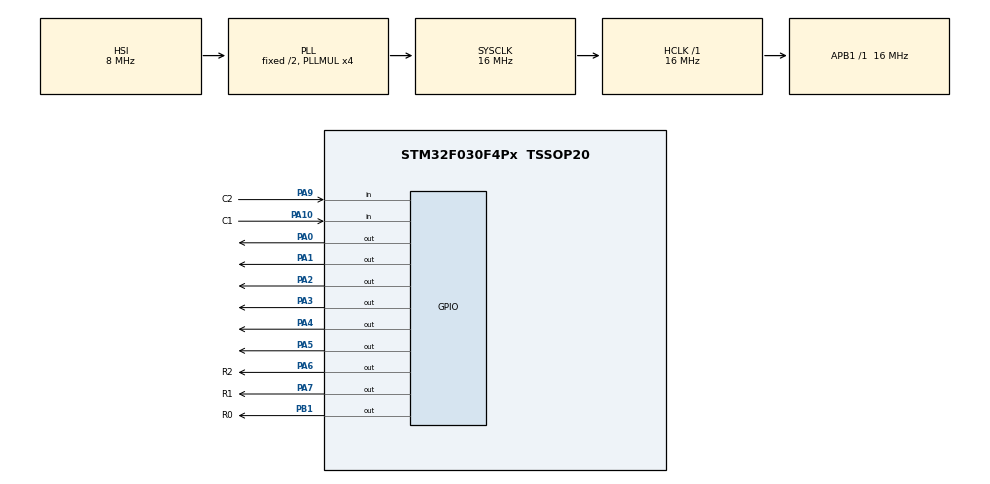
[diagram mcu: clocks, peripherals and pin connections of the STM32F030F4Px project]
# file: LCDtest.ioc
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Mcu.Family=STM32F0
Mcu.Name=STM32F030F4Px
Mcu.Package=TSSOP20
PA0.Signal=GPIO_Output
PA1.Signal=GPIO_Output
PA10.GPIO_Label=C1
PA10.GPIO_Mode=GPIO_MODE_INPUT
PA10.GPIO_PuPd=GPIO_PULLUP
PA10.Signal=GPIO_Input
PA13.Mode=Serial_Wire
PA13.Signal=SYS_SWDIO
PA14.Mode=Serial_Wire
PA14.Signal=SYS_SWCLK
PA2.Signal=GPIO_Output
PA3.Signal=GPIO_Output
PA4.Signal=GPIO_Output
PA5.Signal=GPIO_Output
PA6.GPIO_Label=R2
PA6.Signal=GPIO_Output
PA7.GPIO_Label=R1
PA7.Signal=GPIO_Output
PA9.GPIO_Label=C2
PA9.GPIO_Mode=GPIO_MODE_INPUT
PA9.GPIO_PuPd=GPIO_PULLUP
PA9.Signal=GPIO_Input
PB1.GPIO_Label=R0
PB1.Signal=GPIO_Output
PF0-OSC_IN.Mode=HSE-External-Oscillator
PF0-OSC_IN.Signal=RCC_OSC_IN
PF1-OSC_OUT.Mode=HSE-External-Oscillator
PF1-OSC_OUT.Signal=RCC_OSC_OUT
ProjectManager.HeapSize=0x200
ProjectManager.StackSize=0x400
ProjectManager.TargetToolchain=STM32CubeIDE
RCC.AHBFreq_Value=16000000
RCC.APB1Freq_Value=16000000
RCC.APB1TimFreq_Value=16000000
RCC.HCLKFreq_Value=16000000
RCC.PLLMUL=RCC_PLL_MUL4
RCC.SYSCLKFreq_VALUE=16000000
RCC.SYSCLKSource=RCC_SYSCLKSOURCE_PLLCLK
board=custom

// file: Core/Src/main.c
/* USER CODE BEGIN Header */
/**
  ******************************************************************************
  * @file           : main.c
  * @brief          : Main program body
  ******************************************************************************
  * @attention
  *
  * Copyright (c) 2024 STMicroelectronics.
  * All rights reserved.
  *
  * This software is licensed under terms that can be found in the LICENSE file
  * in the root directory of this software component.
  * If no LICENSE file comes with this software, it is provided AS-IS.
  *
  ******************************************************************************
  */
/* USER CODE END Header */
#include "main.h"

/* USER CODE BEGIN Includes */
#include "lcd.h"
#include "stdlib.h"
#include <stdbool.h>
/* USER CODE END Includes */

void SystemClock_Config(void);
static void MX_GPIO_Init(void);

/* USER CODE BEGIN 0 */
#define DEL 10
#define cong 11
#define tru 12
#define nhan 13
#define chia 14
#define bang 15
#define ko 16
int64_t num[10] = {0,0,0,0,0,0,0,0,0,0}; //luu so
uint8_t equaltion[9] = {0,0,0,0,0,0,0,0,0}; // luu dau
uint8_t pos = 0; //vi tri

const uint8_t key_code [8][2] =
{
		{7,8},
		{9,cong},
		{4,5},
		{6,tru},
		{1,2},
		{3,nhan},
		{ko,bang},
		{DEL,chia},
};
uint8_t key_current=0;
uint8_t key_last=0;

int64_t kq=0;
int64_t num1=0;

void selectRow(uint8_t row)
{
	switch (row){
	case 0:
		HAL_GPIO_WritePin(GPIOA, GPIO_PIN_6, RESET);
		HAL_GPIO_WritePin(GPIOA, GPIO_PIN_7, RESET);
		HAL_GPIO_WritePin(GPIOB, GPIO_PIN_1, RESET);
	break;
	case 1:
		HAL_GPIO_WritePin(GPIOA, GPIO_PIN_6, RESET);
		HAL_GPIO_WritePin(GPIOA, GPIO_PIN_7, RESET);
		HAL_GPIO_WritePin(GPIOB, GPIO_PIN_1, SET);
		break;
	case 2:
		HAL_GPIO_WritePin(GPIOA, GPIO_PIN_6, RESET);
		HAL_GPIO_WritePin(GPIOA, GPIO_PIN_7, SET);
		HAL_GPIO_WritePin(GPIOB, GPIO_PIN_1, RESET);
		break;
	case 3:
		HAL_GPIO_WritePin(GPIOA, GPIO_PIN_6, RESET);
		HAL_GPIO_WritePin(GPIOA, GPIO_PIN_7, SET);
		HAL_GPIO_WritePin(GPIOB, GPIO_PIN_1, SET);
		break;
	case 4:
		HAL_GPIO_WritePin(GPIOA, GPIO_PIN_6, SET);
		HAL_GPIO_WritePin(GPIOA, GPIO_PIN_7, RESET);
		HAL_GPIO_WritePin(GPIOB, GPIO_PIN_1, RESET);
		break;
	case 5:
		HAL_GPIO_WritePin(GPIOA, GPIO_PIN_6, SET);
		HAL_GPIO_WritePin(GPIOA, GPIO_PIN_7, RESET);
		HAL_GPIO_WritePin(GPIOB, GPIO_PIN_1, SET);
		break;
	case 6:
		HAL_GPIO_WritePin(GPIOA, GPIO_PIN_6, SET);
		HAL_GPIO_WritePin(GPIOA, GPIO_PIN_7, SET);
		HAL_GPIO_WritePin(GPIOB, GPIO_PIN_1, RESET);
		break;
	case 7:
		HAL_GPIO_WritePin(GPIOA, GPIO_PIN_6, SET);
		HAL_GPIO_WritePin(GPIOA, GPIO_PIN_7, SET);
		HAL_GPIO_WritePin(GPIOB, GPIO_PIN_1, SET);
		break;
	}
};

uint8_t row;
uint8_t col;
uint8_t Keypad_Getkey()

{
	for (row=0 ; row<8 ; row ++)
	{
		selectRow(row);
		HAL_Delay(2);
			if (HAL_GPIO_ReadPin(GPIOA, GPIO_PIN_10) == 0)
			{
				HAL_Delay(50);
				if (HAL_GPIO_ReadPin(GPIOA, GPIO_PIN_10) == 0)
				return key_code[row][0];
			}
			else if (HAL_GPIO_ReadPin(GPIOA, GPIO_PIN_9) == 0)
			{
				HAL_Delay(50);
				if (HAL_GPIO_ReadPin(GPIOA, GPIO_PIN_9) == 0)
				return key_code[row][1];
			}
	}
	return 0;
}

// A utility function to reverse a string
//void reverse(char str[], int length)
//{
//    int start = 0;
//    int end = length - 1;
//    while (start < end) {
//        char temp = str[start];
//        str[start] = str[end];
//        str[end] = temp;
//        end--;
//        start++;
//    }
//}
//// Implementation of citoa()
//char* citoa(int64_t num, char* str, int base)
//{
//    int i = 0;
//    bool isNegative = false;
//
//    /* Handle 0 explicitly, otherwise empty string is
//     * printed for 0 */
//    if (num == 0) {
//        str[i++] = '0';
//        str[i] = '\0';
//        return str;
//    }
//
//    // In standard itoa(), negative numbers are handled
//    // only with base 10. Otherwise numbers are
//    // considered unsigned.
//    if (num < 0 && base == 10) {
//        isNegative = true;
//        num = -num;
//    }
//
//    // Process individual digits
//    while (num != 0) {
//        int rem = num % base;
//        str[i++] = (rem > 9) ? (rem - 10) + 'a' : rem + '0';
//        num = num / base;
//    }
//
//    // If number is negative, append '-'
//    if (isNegative)
//        str[i++] = '-';
//
//    str[i] = '\0'; // Append string terminator
//
//    // Reverse the string
//    reverse(str, i);
//
//    return str;
//}

/* USER CODE END 0 */

int main(void)
{

  /* MCU Configuration--------------------------------------------------------*/

  /* Reset of all peripherals, Initializes the Flash interface and the Systick. */
  HAL_Init();

  /* Configure the system clock */
  SystemClock_Config();

  /* Initialize all configured peripherals */
  MX_GPIO_Init();
  /* USER CODE BEGIN 2 */
    Lcd_PortType ports[] = { GPIOA, GPIOA, GPIOA, GPIOA };
    Lcd_PinType pins[] = {GPIO_PIN_2, GPIO_PIN_3, GPIO_PIN_4, GPIO_PIN_5};
    Lcd_HandleTypeDef lcd;
    lcd = Lcd_create(ports, pins, GPIOA, GPIO_PIN_0, GPIOA, GPIO_PIN_1, LCD_4_BIT_MODE);
    Lcd_cursor(&lcd, 0,0);
    void Press (uint8_t key)
    {
    	if ((key==1) || (key==2) || (key==3) || (key==4) || (key==5) || (key==6) || (key==7) || (key==8) || (key==9) || (key==ko))
    	{
    		if (key==ko)
    		{
    			key=0;
    	    }
    			Lcd_int(&lcd, key);
    	}
    	if ((key==cong))
    	{
    		Lcd_string(&lcd, "+");
    		equaltion[pos] = 1;
    	}
    	else if ((key==tru))
    	{
    		Lcd_string(&lcd, "-");
    		equaltion[pos] = 2;
    	}
    	else if ((key==nhan))
    	{
    		Lcd_string(&lcd, "x");
    		equaltion[pos] = 3;
    	}
    	else if ((key==chia))
    	{
    		Lcd_string(&lcd, ":");
    		equaltion[pos] = 4;
    	}
    	if (key==bang)
    	{
    		num[pos] = num1;
    		for(uint8_t i = 0; i < 9; i++)
    		{
    			if (equaltion[i] == 3)
    			{
    				num[i+1] = num[i] * num[i+1];
    				num[i] = 0;
    				if (i>0)
    				{
    					equaltion[i] = equaltion[i-1];
    				}
    				else equaltion[i] = 1;
    			}
    			else if (equaltion[i] == 4)
    			{
    				num[i+1] = num[i] / num[i+1];
    				num[i] = 0;
    				if (i>0)
    				{
    					equaltion[i] = equaltion[i-1];
    				}
    				else equaltion[i] = 1;
    			}
    		}
    		for(uint8_t i = 0; i < 10; i++)
    		{
    			if (equaltion[i] == 1)
    			{
    				num[i+1] = num[i] + num[i+1];
    			}
    			else if (equaltion[i] == 2)
    			{
    				num[i+1] = num[i] - num[i+1];
    			}
    			else if (equaltion[i] == 0) {
    				kq = num[i];
    				break;
    			}

    		}
    		Lcd_cursor(&lcd, 1, 0);
    		Lcd_int(&lcd, kq);
    	}
    	if (key==DEL)
    	{
    		Lcd_clear(&lcd);
    		Lcd_cursor(&lcd, 0, 0);
    	}
    }
    void Release (uint8_t key)
    {
    	  if ((key==1) || (key==2) || (key==3) || (key==4) || (key==5) || (key==6) || (key==7) || (key==8) || (key==9) || (key==ko))
    	  {
    		  if (key==ko)
    		  {
    			  key=0;
    		  }
    	 	  num1 = num1*10 + key;
    	  }
    	  if ((key==cong) || (key==tru) || (key==nhan) || (key==chia))
    	  {
    		  num[pos] = num1;
    		  num1 = 0; //reset num1
    		  pos++;
    	  }
    	  if (key==bang)
    	  {

    	  }
    	  if (key==DEL)
    	  {
    		  num1=0;
    		  pos=0;
    		  for (uint8_t i = 0; i < 9; i++) {
    		      equaltion[i] = 0;
    		  }
    		  for (uint8_t i = 0; i < 10; i++) {
    		      num[i] = 0;
    		  }
    	  }
    }
    void Keypad_handle()
    {
    	if ( key_current != key_last )
    	{
    		if ( key_current !=0 ) Press(key_current);
    		else Release (key_last);
    		key_last = key_current;
    	}
    }
  /* USER CODE END 2 */

  /* Infinite loop */
  /* USER CODE BEGIN WHILE */
  while (1)
  {
	  key_current = Keypad_Getkey();
	  Keypad_handle();
    /* USER CODE END WHILE */

  }
}

void SystemClock_Config(void)
{
  RCC_OscInitTypeDef RCC_OscInitStruct = {0};
  RCC_ClkInitTypeDef RCC_ClkInitStruct = {0};

  /** Initializes the RCC Oscillators according to the specified parameters
  * in the RCC_OscInitTypeDef structure.
  */
  RCC_OscInitStruct.OscillatorType = RCC_OSCILLATORTYPE_HSI;
  RCC_OscInitStruct.HSIState = RCC_HSI_ON;
  RCC_OscInitStruct.HSICalibrationValue = RCC_HSICALIBRATION_DEFAULT;
  RCC_OscInitStruct.PLL.PLLState = RCC_PLL_ON;
  RCC_OscInitStruct.PLL.PLLSource = RCC_PLLSOURCE_HSI;
  RCC_OscInitStruct.PLL.PLLMUL = RCC_PLL_MUL4;
  RCC_OscInitStruct.PLL.PREDIV = RCC_PREDIV_DIV1;
  if (HAL_RCC_OscConfig(&RCC_OscInitStruct) != HAL_OK)
  {
    Error_Handler();
  }

  /** Initializes the CPU, AHB and APB buses clocks
  */
  RCC_ClkInitStruct.ClockType = RCC_CLOCKTYPE_HCLK|RCC_CLOCKTYPE_SYSCLK
                              |RCC_CLOCKTYPE_PCLK1;
  RCC_ClkInitStruct.SYSCLKSource = RCC_SYSCLKSOURCE_PLLCLK;
  RCC_ClkInitStruct.AHBCLKDivider = RCC_SYSCLK_DIV1;
  RCC_ClkInitStruct.APB1CLKDivider = RCC_HCLK_DIV1;

  if (HAL_RCC_ClockConfig(&RCC_ClkInitStruct, FLASH_LATENCY_0) != HAL_OK)
  {
    Error_Handler();
  }
}

static void MX_GPIO_Init(void)
{
  GPIO_InitTypeDef GPIO_InitStruct = {0};

  /* GPIO Ports Clock Enable */
  __HAL_RCC_GPIOF_CLK_ENABLE();
  __HAL_RCC_GPIOA_CLK_ENABLE();
  __HAL_RCC_GPIOB_CLK_ENABLE();

  /*Configure GPIO pin Output Level */
  HAL_GPIO_WritePin(GPIOA, GPIO_PIN_0|GPIO_PIN_1|GPIO_PIN_2|GPIO_PIN_3
                          |GPIO_PIN_4|GPIO_PIN_5|R2_Pin|R1_Pin, GPIO_PIN_RESET);

  /*Configure GPIO pin Output Level */
  HAL_GPIO_WritePin(R0_GPIO_Port, R0_Pin, GPIO_PIN_RESET);

  /*Configure GPIO pins : PA0 PA1 PA2 PA3
                           PA4 PA5 R2_Pin R1_Pin */
  GPIO_InitStruct.Pin = GPIO_PIN_0|GPIO_PIN_1|GPIO_PIN_2|GPIO_PIN_3
                          |GPIO_PIN_4|GPIO_PIN_5|R2_Pin|R1_Pin;
  GPIO_InitStruct.Mode = GPIO_MODE_OUTPUT_PP;
  GPIO_InitStruct.Pull = GPIO_NOPULL;
  GPIO_InitStruct.Speed = GPIO_SPEED_FREQ_LOW;
  HAL_GPIO_Init(GPIOA, &GPIO_InitStruct);

  /*Configure GPIO pin : R0_Pin */
  GPIO_InitStruct.Pin = R0_Pin;
  GPIO_InitStruct.Mode = GPIO_MODE_OUTPUT_PP;
  GPIO_InitStruct.Pull = GPIO_NOPULL;
  GPIO_InitStruct.Speed = GPIO_SPEED_FREQ_LOW;
  HAL_GPIO_Init(R0_GPIO_Port, &GPIO_InitStruct);

  /*Configure GPIO pins : C2_Pin C1_Pin */
  GPIO_InitStruct.Pin = C2_Pin|C1_Pin;
  GPIO_InitStruct.Mode = GPIO_MODE_INPUT;
  GPIO_InitStruct.Pull = GPIO_PULLUP;
  HAL_GPIO_Init(GPIOA, &GPIO_InitStruct);

}

void Error_Handler(void)
{
  __disable_irq();
  while (1)
  {
  }
}
